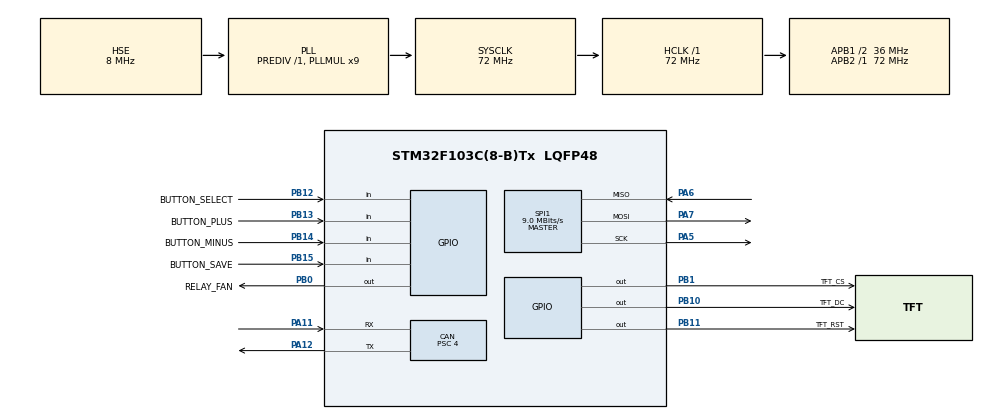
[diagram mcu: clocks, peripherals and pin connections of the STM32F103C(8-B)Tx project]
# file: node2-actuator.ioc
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CAN.ABOM=ENABLE
CAN.BS1=CAN_BS1_15TQ
CAN.BS2=CAN_BS2_2TQ
CAN.CalculateBaudRate=500000
CAN.CalculateTimeBit=2000
CAN.CalculateTimeQuantum=111.11111111111111
CAN.Prescaler=4
FREERTOS.INCLUDE_uxTaskGetStackHighWaterMark=1
FREERTOS.INCLUDE_vTaskDelayUntil=1
FREERTOS.Tasks01=defaultTask,0,128,StartDefaultTask,Default,NULL,Dynamic,NULL,NULL
FREERTOS.configCHECK_FOR_STACK_OVERFLOW=2
FREERTOS.configTOTAL_HEAP_SIZE=8192
FREERTOS.configUSE_NEWLIB_REENTRANT=1
Mcu.Family=STM32F1
Mcu.Name=STM32F103C(8-B)Tx
Mcu.Package=LQFP48
NVIC.PriorityGroup=NVIC_PRIORITYGROUP_4
NVIC.TIM4_IRQn=true\:15\:0\:false\:false\:true\:false\:false\:true\:true
NVIC.TimeBase=TIM4_IRQn
NVIC.TimeBaseIP=TIM4
NVIC.USB_LP_CAN1_RX0_IRQn=true\:5\:0\:true\:false\:true\:true\:true\:true\:true
PA11.Mode=CAN_Activate
PA11.Signal=CAN_RX
PA12.Mode=CAN_Activate
PA12.Signal=CAN_TX
PA13.Mode=Serial_Wire
PA13.Signal=SYS_JTMS-SWDIO
PA14.Mode=Serial_Wire
PA14.Signal=SYS_JTCK-SWCLK
PA5.Mode=Full_Duplex_Master
PA5.Signal=SPI1_SCK
PA6.Mode=Full_Duplex_Master
PA6.Signal=SPI1_MISO
PA7.Mode=Full_Duplex_Master
PA7.Signal=SPI1_MOSI
PB0.GPIO_Label=RELAY_FAN
PB0.GPIO_Speed=GPIO_SPEED_FREQ_LOW
PB0.PinState=GPIO_PIN_RESET
PB0.Signal=GPIO_Output
PB1.GPIO_Label=TFT_CS
PB1.GPIO_Speed=GPIO_SPEED_FREQ_HIGH
PB1.PinState=GPIO_PIN_SET
PB1.Signal=GPIO_Output
PB10.GPIO_Label=TFT_DC
PB10.GPIO_Speed=GPIO_SPEED_FREQ_HIGH
PB10.Signal=GPIO_Output
PB11.GPIO_Label=TFT_RST
PB11.GPIO_Speed=GPIO_SPEED_FREQ_HIGH
PB11.PinState=GPIO_PIN_SET
PB11.Signal=GPIO_Output
PB12.GPIO_Label=BUTTON_SELECT
PB12.GPIO_PuPd=GPIO_PULLUP
PB12.Signal=GPIO_Input
PB13.GPIO_Label=BUTTON_PLUS
PB13.GPIO_PuPd=GPIO_PULLUP
PB13.Signal=GPIO_Input
PB14.GPIO_Label=BUTTON_MINUS
PB14.GPIO_PuPd=GPIO_PULLUP
PB14.Signal=GPIO_Input
PB15.GPIO_Label=BUTTON_SAVE
PB15.GPIO_PuPd=GPIO_PULLUP
PB15.Signal=GPIO_Input
PD0-OSC_IN.Mode=HSE-External-Oscillator
PD0-OSC_IN.Signal=RCC_OSC_IN
PD1-OSC_OUT.Mode=HSE-External-Oscillator
PD1-OSC_OUT.Signal=RCC_OSC_OUT
ProjectManager.HeapSize=0x200
ProjectManager.StackSize=0x400
ProjectManager.TargetToolchain=STM32CubeIDE
RCC.AHBFreq_Value=72000000
RCC.APB1CLKDivider=RCC_HCLK_DIV2
RCC.APB1Freq_Value=36000000
RCC.APB1TimFreq_Value=72000000
RCC.APB2Freq_Value=72000000
RCC.APB2TimFreq_Value=72000000
RCC.HCLKFreq_Value=72000000
RCC.PLLMUL=RCC_PLL_MUL9
RCC.PLLSourceVirtual=RCC_PLLSOURCE_HSE
RCC.SYSCLKFreq_VALUE=72000000
RCC.SYSCLKSource=RCC_SYSCLKSOURCE_PLLCLK
RCC.USBFreq_Value=72000000
SPI1.BaudRatePrescaler=SPI_BAUDRATEPRESCALER_8
SPI1.CalculateBaudRate=9.0 MBits/s
SPI1.Direction=SPI_DIRECTION_2LINES
SPI1.Mode=SPI_MODE_MASTER
SPI1.VirtualType=VM_MASTER
VP_FREERTOS_VS_CMSIS_V1.Mode=CMSIS_V1
VP_SYS_VS_tim4.Mode=TIM4
board=custom

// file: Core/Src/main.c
/**
 * @file main.c
 * @brief Peripheral initialization and application task startup.
 */

/* USER CODE BEGIN Header */
/* USER CODE END Header */
#include "main.h"
#include "cmsis_os.h"

/* USER CODE BEGIN Includes */
#include "app_ipc.h"
#include "bsp_board.h"
#include "task_actuator.h"
#include "task_buttons.h"
#include "task_ui.h"
/* USER CODE END Includes */

CAN_HandleTypeDef hcan;

SPI_HandleTypeDef hspi1;

osThreadId defaultTaskHandle;

/**
  * @brief Configure the HSE/PLL system clock and peripheral bus dividers.
  * @retval None
  */
void SystemClock_Config(void);
/**
  * @brief Initialize board pin modes and initial output levels.
  * @retval None
  */
static void MX_GPIO_Init(void);
/**
  * @brief Initialize the TFT SPI master interface.
  * @retval None
  */
static void MX_SPI1_Init(void);
/**
  * @brief Initialize CAN1 standard bus timing at 500 kbit/s.
  * @retval None
  */
static void MX_CAN_Init(void);
/**
 * @brief Delete the CubeMX default task after application tasks have been created.
 * @param[in] argument Unused CMSIS-RTOS task argument.
 */
void StartDefaultTask(void const * argument);

int main(void)
{

  /* MCU Configuration--------------------------------------------------------*/

  /* Reset of all peripherals, Initializes the Flash interface and the Systick. */
  HAL_Init();

  /* USER CODE BEGIN Init */
    bsp_board_set_init_step(BOARD_ERR_OSCILLATOR);
  /* USER CODE END Init */

  /* Configure the system clock */
  SystemClock_Config();

  /* Initialize all configured peripherals */
  MX_GPIO_Init();
  MX_SPI1_Init();
  MX_CAN_Init();
  /* USER CODE BEGIN 2 */
    bsp_board_init();
  /* USER CODE END 2 */

  /* USER CODE BEGIN RTOS_QUEUES */
    if (!app_ipc_init()) {
        bsp_board_fail(BOARD_ERR_QUEUE);
    }
  /* USER CODE END RTOS_QUEUES */

  /* Create the thread(s) */
  /* definition and creation of defaultTask */
  osThreadDef(defaultTask, StartDefaultTask, osPriorityNormal, 0, 128);
  defaultTaskHandle = osThreadCreate(osThread(defaultTask), NULL);

  /* USER CODE BEGIN RTOS_THREADS */
    if (task_actuator_create() != pdPASS || task_buttons_create() != pdPASS ||
        task_ui_create() != pdPASS) {
        bsp_board_fail(BOARD_ERR_TASK);
    }
  /* USER CODE END RTOS_THREADS */

  /* Start scheduler */
  osKernelStart();

  /* We should never get here as control is now taken by the scheduler */

  /* Infinite loop */
  /* USER CODE BEGIN WHILE */
    bsp_board_fail(BOARD_ERR_SCHEDULER);

    while (1) {
    /* USER CODE END WHILE */

    }
}

void SystemClock_Config(void)
{
  RCC_OscInitTypeDef RCC_OscInitStruct = {0};
  RCC_ClkInitTypeDef RCC_ClkInitStruct = {0};

  /** Initializes the RCC Oscillators according to the specified parameters
  * in the RCC_OscInitTypeDef structure.
  */
  RCC_OscInitStruct.OscillatorType = RCC_OSCILLATORTYPE_HSE;
  RCC_OscInitStruct.HSEState = RCC_HSE_ON;
  RCC_OscInitStruct.HSEPredivValue = RCC_HSE_PREDIV_DIV1;
  RCC_OscInitStruct.HSIState = RCC_HSI_ON;
  RCC_OscInitStruct.PLL.PLLState = RCC_PLL_ON;
  RCC_OscInitStruct.PLL.PLLSource = RCC_PLLSOURCE_HSE;
  RCC_OscInitStruct.PLL.PLLMUL = RCC_PLL_MUL9;
  if (HAL_RCC_OscConfig(&RCC_OscInitStruct) != HAL_OK)
  {
    Error_Handler();
  }

  /** Initializes the CPU, AHB and APB buses clocks
  */
  RCC_ClkInitStruct.ClockType = RCC_CLOCKTYPE_HCLK|RCC_CLOCKTYPE_SYSCLK
                              |RCC_CLOCKTYPE_PCLK1|RCC_CLOCKTYPE_PCLK2;
  RCC_ClkInitStruct.SYSCLKSource = RCC_SYSCLKSOURCE_PLLCLK;
  RCC_ClkInitStruct.AHBCLKDivider = RCC_SYSCLK_DIV1;
  RCC_ClkInitStruct.APB1CLKDivider = RCC_HCLK_DIV2;
  RCC_ClkInitStruct.APB2CLKDivider = RCC_HCLK_DIV1;

  if (HAL_RCC_ClockConfig(&RCC_ClkInitStruct, FLASH_LATENCY_2) != HAL_OK)
  {
    Error_Handler();
  }
}

static void MX_CAN_Init(void)
{

  /* USER CODE BEGIN CAN_Init 0 */
    bsp_board_set_init_step(BOARD_ERR_CAN_INIT);
  /* USER CODE END CAN_Init 0 */

  hcan.Instance = CAN1;
  hcan.Init.Prescaler = 4;
  hcan.Init.Mode = CAN_MODE_NORMAL;
  hcan.Init.SyncJumpWidth = CAN_SJW_1TQ;
  hcan.Init.TimeSeg1 = CAN_BS1_15TQ;
  hcan.Init.TimeSeg2 = CAN_BS2_2TQ;
  hcan.Init.TimeTriggeredMode = DISABLE;
  hcan.Init.AutoBusOff = ENABLE;
  hcan.Init.AutoWakeUp = DISABLE;
  hcan.Init.AutoRetransmission = DISABLE;
  hcan.Init.ReceiveFifoLocked = DISABLE;
  hcan.Init.TransmitFifoPriority = DISABLE;
  if (HAL_CAN_Init(&hcan) != HAL_OK)
  {
    Error_Handler();
  }

}

static void MX_SPI1_Init(void)
{

  /* USER CODE BEGIN SPI1_Init 0 */
    bsp_board_set_init_step(BOARD_ERR_SPI_INIT);
  /* USER CODE END SPI1_Init 0 */

  /* SPI1 parameter configuration*/
  hspi1.Instance = SPI1;
  hspi1.Init.Mode = SPI_MODE_MASTER;
  hspi1.Init.Direction = SPI_DIRECTION_2LINES;
  hspi1.Init.DataSize = SPI_DATASIZE_8BIT;
  hspi1.Init.CLKPolarity = SPI_POLARITY_LOW;
  hspi1.Init.CLKPhase = SPI_PHASE_1EDGE;
  hspi1.Init.NSS = SPI_NSS_SOFT;
  hspi1.Init.BaudRatePrescaler = SPI_BAUDRATEPRESCALER_8;
  hspi1.Init.FirstBit = SPI_FIRSTBIT_MSB;
  hspi1.Init.TIMode = SPI_TIMODE_DISABLE;
  hspi1.Init.CRCCalculation = SPI_CRCCALCULATION_DISABLE;
  hspi1.Init.CRCPolynomial = 10;
  if (HAL_SPI_Init(&hspi1) != HAL_OK)
  {
    Error_Handler();
  }

}

static void MX_GPIO_Init(void)
{
  GPIO_InitTypeDef GPIO_InitStruct = {0};

  /* GPIO Ports Clock Enable */
  __HAL_RCC_GPIOD_CLK_ENABLE();
  __HAL_RCC_GPIOA_CLK_ENABLE();
  __HAL_RCC_GPIOB_CLK_ENABLE();

  /*Configure GPIO pin Output Level */
  HAL_GPIO_WritePin(GPIOB, RELAY_FAN_Pin|TFT_DC_Pin, GPIO_PIN_RESET);

  /*Configure GPIO pin Output Level */
  HAL_GPIO_WritePin(GPIOB, TFT_CS_Pin|TFT_RST_Pin, GPIO_PIN_SET);

  /*Configure GPIO pin : RELAY_FAN_Pin */
  GPIO_InitStruct.Pin = RELAY_FAN_Pin;
  GPIO_InitStruct.Mode = GPIO_MODE_OUTPUT_PP;
  GPIO_InitStruct.Pull = GPIO_NOPULL;
  GPIO_InitStruct.Speed = GPIO_SPEED_FREQ_LOW;
  HAL_GPIO_Init(RELAY_FAN_GPIO_Port, &GPIO_InitStruct);

  /*Configure GPIO pins : TFT_CS_Pin TFT_DC_Pin TFT_RST_Pin */
  GPIO_InitStruct.Pin = TFT_CS_Pin|TFT_DC_Pin|TFT_RST_Pin;
  GPIO_InitStruct.Mode = GPIO_MODE_OUTPUT_PP;
  GPIO_InitStruct.Pull = GPIO_NOPULL;
  GPIO_InitStruct.Speed = GPIO_SPEED_FREQ_HIGH;
  HAL_GPIO_Init(GPIOB, &GPIO_InitStruct);

  /*Configure GPIO pins : BUTTON_SELECT_Pin BUTTON_PLUS_Pin BUTTON_MINUS_Pin BUTTON_SAVE_Pin */
  GPIO_InitStruct.Pin = BUTTON_SELECT_Pin|BUTTON_PLUS_Pin|BUTTON_MINUS_Pin|BUTTON_SAVE_Pin;
  GPIO_InitStruct.Mode = GPIO_MODE_INPUT;
  GPIO_InitStruct.Pull = GPIO_PULLUP;
  HAL_GPIO_Init(GPIOB, &GPIO_InitStruct);

}

/**
 * @brief Delete the CubeMX default task after application tasks have been created.
 * @param[in] argument Unused CMSIS-RTOS task argument.
 */
void StartDefaultTask(void const * argument)
{
  /* USER CODE BEGIN 5 */
    (void)argument;
    vTaskDelete(NULL);
  /* USER CODE END 5 */
}

void HAL_TIM_PeriodElapsedCallback(TIM_HandleTypeDef *htim)
{
  if (htim->Instance == TIM4)
  {
    HAL_IncTick();
  }
}

void Error_Handler(void)
{
  /* USER CODE BEGIN Error_Handler_Debug */
    bsp_board_record_error();

    __disable_irq();
    while (1) {
    }
  /* USER CODE END Error_Handler_Debug */
}
